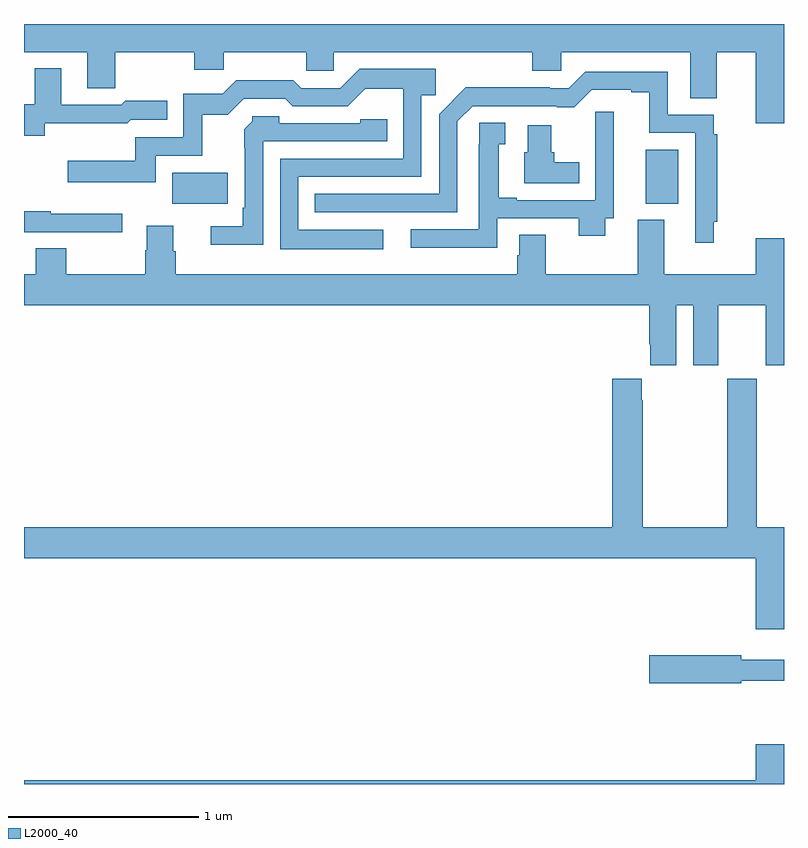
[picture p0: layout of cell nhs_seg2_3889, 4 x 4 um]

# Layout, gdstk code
import gdstk
lib = gdstk.Library(unit=1e-6, precision=1e-09)
def R(c, l, rs):  # rectangles x0, y0, x1, y1
    for r in rs: c.add(gdstk.rectangle(r[:2], r[2:], *l))
def P(c, l, *ps):  # polygons
    for p in ps: c.add(gdstk.Polygon(p, *l))
L2000_40 = (2000, 40)

nhs_seg2_3889 = lib.new_cell('nhs_seg2_3889')
R(nhs_seg2_3889, L2000_40, [(317.779,630.854,318.072,631.018), (320.273,630.854,320.443,631.138)])
P(nhs_seg2_3889, L2000_40, [(321,631.8),(317,631.8),(317,631.652),(317.333,631.652),(317.333,631.462),(317.481,631.462),(317.481,631.652),(317.896,631.652),(317.896,631.559),(318.05,631.559),(318.05,631.652),(318.485,631.652),(318.485,631.554),(318.63,631.554),(318.63,631.652),(319.676,631.652),(319.676,631.554),(319.827,631.554),(319.827,631.652),(320.507,631.652),(320.507,631.408),(320.647,631.408),(320.647,631.652),(320.852,631.652),(320.852,631.278),(321,631.278)],
  [(317.11,631.277),(317.543,631.277),(317.562,631.296),(317.753,631.296),(317.753,631.397),(317.534,631.397),(317.511,631.374),(317.197,631.374),(317.197,631.567),(317.057,631.567),(317.057,631.377),(317,631.377),(317,631.211),(317.11,631.211)],
  [(318.892,630.718),(318.444,630.718),(318.444,630.996),(319.092,630.996),(319.092,631.426),(319.166,631.426),(319.166,631.564),(318.768,631.564),(318.665,631.461),(318.459,631.461),(318.416,631.504),(318.118,631.504),(318.046,631.432),(317.838,631.432),(317.838,631.203),(317.586,631.203),(317.586,631.081),(317.229,631.081),(317.229,630.968),(317.694,630.968),(317.694,631.107),(317.937,631.107),(317.937,631.323),(318.072,631.323),(318.156,631.407),(318.375,631.407),(318.414,631.368),(318.705,631.368),(318.795,631.458),(318.996,631.458),(318.996,631.092),(318.348,631.092),(318.348,630.614),(318.892,630.614)],
  [(320.631,630.76),(320.648,630.76),(320.648,631.22),(320.631,631.22),(320.631,631.323),(320.388,631.323),(320.388,631.548),(319.953,631.548),(319.866,631.461),(319.766,631.461),(319.766,631.466),(319.326,631.466),(319.185,631.324),(319.185,630.906),(318.529,630.906),(318.529,630.81),(319.281,630.81),(319.281,631.287),(319.362,631.368),(319.805,631.368),(319.805,631.363),(319.897,631.363),(319.988,631.454),(320.195,631.454),(320.195,631.44),(320.291,631.44),(320.291,631.227),(320.532,631.227),(320.532,630.648),(320.631,630.648)],
  [(319.491,630.777),(319.919,630.777),(319.919,630.686),(320.059,630.686),(320.059,630.777),(320.104,630.777),(320.104,631.339),(320.006,631.339),(320.006,631.098),(320.007,631.098),(320.007,630.873),(319.594,630.873),(319.594,630.886),(319.498,630.886),(319.498,631.166),(319.534,631.166),(319.534,631.279),(319.396,631.279),(319.396,631.166),(319.394,631.166),(319.394,630.72),(319.035,630.72),(319.035,630.623),(319.491,630.623)],
  [(318.258,631.182),(318.911,631.182),(318.911,631.299),(318.771,631.299),(318.771,631.278),(318.344,631.278),(318.344,631.314),(318.201,631.314),(318.201,631.288),(318.16,631.247),(318.16,631.148),(318.162,631.148),(318.162,630.832),(318.15,630.832),(318.15,630.735),(317.982,630.735),(317.982,630.638),(318.258,630.638)],
  [(319.922,631.072),(319.792,631.072),(319.792,631.125),(319.774,631.125),(319.774,631.267),(319.652,631.267),(319.652,631.125),(319.634,631.125),(319.634,630.963),(319.922,630.963)],
  [(317.518,630.802),(317.141,630.802),(317.141,630.814),(317,630.814),(317,630.705),(317.518,630.705)],
  [(320.434,630.32),(320.522,630.32),(320.522,630.003),(320.653,630.003),(320.653,630.32),(320.903,630.32),(320.903,630.003),(321,630.003),(321,630.673),(320.852,630.673),(320.852,630.484),(320.371,630.484),(320.371,630.769),(320.231,630.769),(320.231,630.484),(319.747,630.484),(319.747,630.692),(319.607,630.692),(319.607,630.582),(319.595,630.582),(319.595,630.484),(317.798,630.484),(317.798,630.603),(317.785,630.603),(317.785,630.739),(317.645,630.739),(317.645,630.608),(317.638,630.608),(317.638,630.484),(317.223,630.484),(317.223,630.62),(317.063,630.62),(317.063,630.484),(317,630.484),(317,630.32),(320.291,630.32),(320.291,630.115),(320.297,630.115),(320.297,630.003),(320.434,630.003)],
  [(321,629.152),(320.856,629.152),(320.856,629.932),(320.701,629.932),(320.701,629.152),(320.256,629.152),(320.256,629.819),(320.251,629.819),(320.251,629.932),(320.096,629.932),(320.096,629.152),(317,629.152),(317,628.988),(320.852,628.988),(320.852,628.614),(321,628.614)],
  [(320.776,628.344),(321,628.344),(321,628.453),(320.776,628.453),(320.776,628.478),(320.292,628.478),(320.292,628.331),(320.776,628.331)],
  [(321,628.009),(320.852,628.009),(320.852,627.82),(317,627.82),(317,627.8),(321,627.8)])

lib.write_gds('nhs_seg2_3889.gds')
